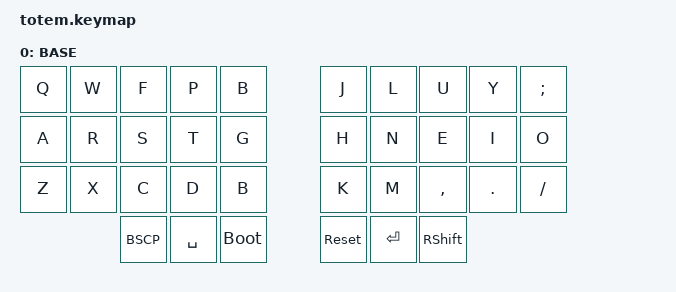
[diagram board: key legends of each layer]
//
//                                                        ▀▀▀▀▀     ▀▀▀▀▀          ▀▀█▀▀
//                                                        ▄▀▀▀▄  ▄  ▄▀▀▀▄  ▄  ▄▀▀▀▄  █  ▄▀▀▀▄
//                                                        █   █  █  █   █  █  █   █  █  █   █
//                                                         ▀▀▀   █   ▀▀▀   █   ▀▀▀   ▀   ▀▀▀
//                                                               █      ▄▄▄█▄▄▄    █   █  
//                                                               ▀      █  █  █     █▄█
//                                                             ▀▀▀▀▀    █  █  █      ▀
//                                                                      ▀  ▀  ▀
//
// ▄▄▄▄▄▄▄▄▄▄▄▄▄▄▄▄▄▄▄▄▄▄▄▄▄▄▄▄▄▄▄▄▄▄▄▄▄▄▄▄▄▄▄▄▄▄▄▄▄▄▄▄▄▄▄▄▄▄▄▄▄▄▄▄▄▄▄▄▄▄▄▄▄▄▄▄▄▄▄▄▄▄▄▄▄▄▄▄▄▄▄▄▄▄▄▄▄▄▄▄▄▄▄▄▄▄▄▄▄▄▄▄▄▄▄▄▄▄▄▄▄▄▄▄▄▄▄▄▄▄▄▄▄▄▄▄▄▄▄▄▄▄▄▄▄▄▄▄▄
       

#include <behaviors.dtsi>
#include <dt-bindings/zmk/keys.h>
#include <dt-bindings/zmk/bt.h>
#include <dt-bindings/zmk/outputs.h>

#define BASE 0

&mt {
  quick-tap-ms = <100>;
  global-quick-tap;
  flavor = "tap-preferred";
  tapping-term-ms = <170>;
};

/ {
     combos {
            compatible = "zmk,combos";
            combo_esc {
                timeout-ms = <50>;
                key-positions = <0 1>;
                bindings = <&kp ESC>;
            };
            combo_tvp {
                timeout-ms = <100>;
                key-positions = <11 12 13>;
                bindings = <&tog TVP1>;
            };
    };

        keymap {
                compatible = "zmk,keymap";
// ▄▄▄▄▄▄▄▄▄▄▄▄▄▄▄▄▄▄▄▄▄▄▄▄▄▄▄▄▄▄▄▄▄▄▄▄▄▄▄▄▄▄▄▄▄▄▄▄▄▄▄▄▄▄▄▄▄▄▄▄▄▄▄▄▄▄▄▄▄▄▄▄▄▄▄▄▄▄▄▄▄▄▄▄▄▄▄▄▄▄▄▄▄▄▄▄▄▄▄▄▄▄▄▄▄▄▄▄▄▄▄▄▄▄▄▄▄▄▄▄▄▄▄▄▄▄▄▄▄▄▄▄▄▄▄▄▄▄▄▄▄▄▄▄▄▄▄▄▄

                base_layer {
// ┏━━━━━━━━━━━━━━━━━━━━━━━━━━━━━━━━━━━━━━━┓
label= "BASE"                              ;
// ┗━━━━━━━━━━━━━━━━━━━━━━━━━━━━━━━━━━━━━━━┛
//             ┏━━━━━━━━━━━┳━━━━━━━━━━━┳━━━━━━━━━━━┳━━━━━━━━━━━┳━━━━━━━━━━━┓   ┏━━━━━━━━━━━┳━━━━━━━━━━━┳━━━━━━━━━━━┳━━━━━━━━━━━┳━━━━━━━━━━━┓
//             ┃     Q     ┃     W     ┃     F     ┃     P     ┃     B     ┃   ┃     J     ┃     L     ┃     U     ┃     Y     ┃     ;     ┃
//             ┣━━━━━━━━━━━╋━━━━━━━━━━━╋━━━━━━━━━━━╋━━━━━━━━━━━╋━━━━━━━━━━━┫   ┣━━━━━━━━━━━╋━━━━━━━━━━━╋━━━━━━━━━━━╋━━━━━━━━━━━╋━━━━━━━━━━━┫
//             ┃     A     ┃     R     ┃     S     ┃     T     ┃     G     ┃   ┃     H     ┃     N     ┃     E     ┃     I     ┃     O     ┃
//             ┣━━━━━━━━━━━╋━━━━━━━━━━━╋━━━━━━━━━━━╋━━━━━━━━━━━╋━━━━━━━━━━━┫   ┣━━━━━━━━━━━╋━━━━━━━━━━━╋━━━━━━━━━━━╋━━━━━━━━━━━╋━━━━━━━━━━━┃
//             ┃     Z     ┃     X     ┃     C     ┃     D     ┃     ?     ┃   ┃     K     ┃     M     ┃     ,     ┃     .     ┃     /     ┃
//             ┗━━━━━━━━━━━┻━━━━━━━━━━━╋━━━━━━━━━━━╋━━━━━━━━━━━╋━━━━━━━━━━━┫   ┣━━━━━━━━━━━╋━━━━━━━━━━━╋━━━━━━━━━━━╋━━━━━━━━━━━┻━━━━━━━━━━━┛
//                                     ┃    BSCP   ┃    SPC    ┃   BootL   ┃   ┃    reset  ┃   Enter   ┃   Shift   ┃
//                                     ┗━━━━━━━━━━━┻━━━━━━━━━━━┻━━━━━━━━━━━┛   ┗━━━━━━━━━━━┻━━━━━━━━━━━┻━━━━━━━━━━━┛
 bindings = <
// ╷           ╷           ╷           ╷           ╷           ╷           ╷   ╷           ╷           ╷           ╷           ╷           ╷           ╷

                &kp Q       &kp W       &kp F       &kp P       &kp B           &kp J       &kp L       &kp U       &kp Y       &kp SEMI
                &kp A       &kp R       &kp S       &kp T       &kp G           &kp H       &kp N       &kp E       &kp I       &kp O
                &kp Z       &kp X       &kp C       &kp D       &kp B           &kp K       &kp M       &kp COMMA   &kp DOT     &kp FSLH    
                                        &kp BSCP    &kp SPACE   &bootloader     &sys_reset  &kp ENTER   &kp RSHFT
                        >;
                };

// ▄▄▄▄▄▄▄▄▄▄▄▄▄▄▄▄▄▄▄▄▄▄▄▄▄▄▄▄▄▄▄▄▄▄▄▄▄▄▄▄▄▄▄▄▄▄▄▄▄▄▄▄▄▄▄▄▄▄▄▄▄▄▄▄▄▄▄▄▄▄▄▄▄▄▄▄▄▄▄▄▄▄▄▄▄▄▄▄▄▄▄▄▄▄▄▄▄▄▄▄▄▄▄▄▄▄▄▄▄▄▄▄▄▄▄▄▄▄▄▄▄▄▄▄▄▄▄▄▄▄▄▄▄▄▄▄▄▄▄▄▄▄▄▄▄▄▄▄▄
